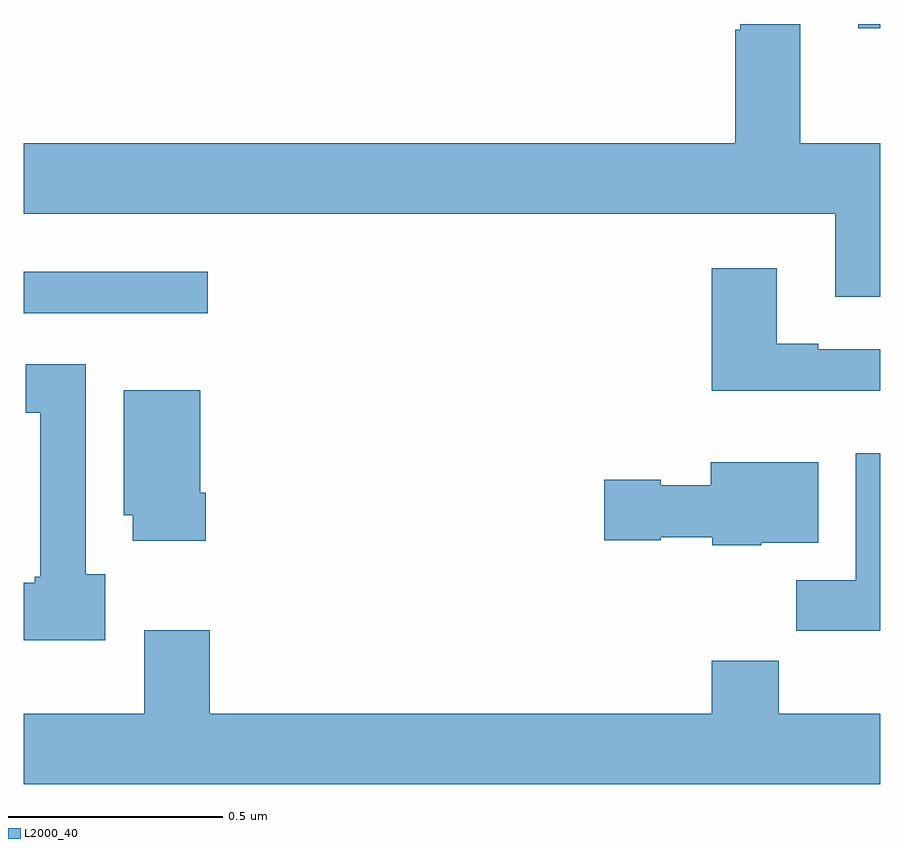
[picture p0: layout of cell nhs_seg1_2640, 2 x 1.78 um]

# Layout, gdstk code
import gdstk
lib = gdstk.Library(unit=1e-6, precision=1e-09)
def R(c, l, rs):  # rectangles x0, y0, x1, y1
    for r in rs: c.add(gdstk.rectangle(r[:2], r[2:], *l))
def P(c, l, *ps):  # polygons
    for p in ps: c.add(gdstk.Polygon(p, *l))
L2000_40 = (2000, 40)

nhs_seg1_2640 = lib.new_cell('nhs_seg1_2640')
R(nhs_seg1_2640, L2000_40, [(144,527.523,144.43,527.62), (145.949,528.189,146,528.199)])
P(nhs_seg1_2640, L2000_40, [(146,527.92),(145.813,527.92),(145.813,528.199),(145.673,528.199),(145.673,528.185),(145.661,528.185),(145.661,527.92),(144,527.92),(144,527.756),(145.895,527.756),(145.895,527.562),(146,527.562)],
  [(146,527.439),(145.855,527.439),(145.855,527.452),(145.759,527.452),(145.759,527.629),(145.607,527.629),(145.607,527.342),(146,527.342)],
  [(144.19,526.914),(144.145,526.914),(144.145,527.404),(144.005,527.404),(144.005,527.291),(144.038,527.291),(144.038,526.908),(144.025,526.908),(144.025,526.894),(144,526.894),(144,526.76),(144.19,526.76)],
  [(144.425,527.104),(144.412,527.104),(144.412,527.344),(144.233,527.344),(144.233,527.052),(144.254,527.052),(144.254,526.992),(144.425,526.992)],
  [(146,527.197),(145.943,527.197),(145.943,526.9),(145.804,526.9),(145.804,526.782),(146,526.782)],
  [(145.722,526.988),(145.855,526.988),(145.855,527.176),(145.604,527.176),(145.604,527.122),(145.488,527.122),(145.488,527.135),(145.356,527.135),(145.356,526.993),(145.488,526.993),(145.488,527),(145.608,527),(145.608,526.982),(145.722,526.982)],
  [(146,526.588),(145.763,526.588),(145.763,526.712),(145.607,526.712),(145.607,526.588),(144.434,526.588),(144.434,526.783),(144.281,526.783),(144.281,526.588),(144,526.588),(144,526.424),(146,526.424)])

lib.write_gds('nhs_seg1_2640.gds')
